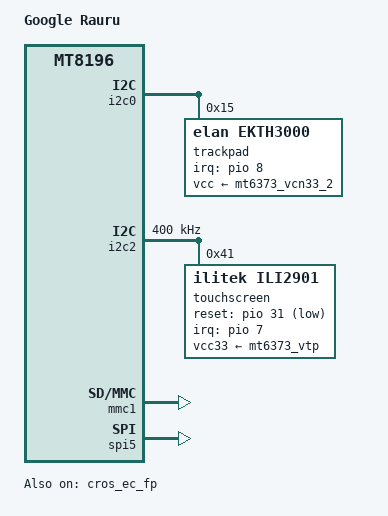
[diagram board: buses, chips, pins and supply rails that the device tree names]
// SPDX-License-Identifier: (GPL-2.0 OR MIT)
/*
 * Copyright (C) 2024 Google LLC
 * Copyright (C) 2025 Collabora Ltd
 *                    AngeloGioacchino Del Regno <angelogioacchino.delregno@collabora.com>
 */

/dts-v1/;
#include "mt8196-rauru.dtsi"

/ {
	model = "Google Rauru";
	compatible = "google,rauru", "mediatek,mt8196";
};

&cros_ec_fp {
	status = "okay";
};

&i2c0 {
	/* elan trackpad */
	trackpad@15 {
		compatible = "elan,ekth3000";
		reg = <0x15>;
		interrupts-extended = <&pio 8 IRQ_TYPE_LEVEL_LOW>;
		pinctrl-names = "default";
		pinctrl-0 = <&trackpad_pins>;
		vcc-supply = <&mt6373_vcn33_2>;
		wakeup-source;
	};
};

&i2c2 {
	clock-frequency = <400000>;
	pinctrl-names = "default";
	pinctrl-0 = <&i2c2_pins>;
	status = "okay";

	touchscreen: touchscreen@41 {
		compatible = "ilitek,ili2901";
		reg = <0x41>;
		interrupts-extended = <&pio 7 IRQ_TYPE_LEVEL_LOW>;
		pinctrl-names = "default";
		pinctrl-0 = <&touchscreen_pins>;
		reset-gpios = <&pio 31 GPIO_ACTIVE_LOW>;
		vcc33-supply = <&mt6373_vtp>;
	};
};

&keyboard_controller {
	function-row-physmap = <
		MATRIX_KEY(0x00, 0x02, 0)	/* T1 */
		MATRIX_KEY(0x03, 0x02, 0)	/* T2 */
		MATRIX_KEY(0x02, 0x02, 0)	/* T3 */
		MATRIX_KEY(0x01, 0x02, 0)	/* T4 */
		MATRIX_KEY(0x03, 0x04, 0)	/* T5 */
		MATRIX_KEY(0x02, 0x04, 0)	/* T6 */
		MATRIX_KEY(0x01, 0x04, 0)	/* T7 */
		MATRIX_KEY(0x02, 0x09, 0)	/* T8 */
		MATRIX_KEY(0x01, 0x09, 0)	/* T9 */
		MATRIX_KEY(0x00, 0x04, 0)	/* T10 */
	>;

	linux,keymap = <
		MATRIX_KEY(0x00, 0x02, KEY_BACK)
		MATRIX_KEY(0x03, 0x02, KEY_REFRESH)
		MATRIX_KEY(0x02, 0x02, KEY_ZOOM)
		MATRIX_KEY(0x01, 0x02, KEY_SCALE)
		MATRIX_KEY(0x03, 0x04, KEY_SYSRQ)
		MATRIX_KEY(0x02, 0x04, KEY_BRIGHTNESSDOWN)
		MATRIX_KEY(0x01, 0x04, KEY_BRIGHTNESSUP)
		MATRIX_KEY(0x02, 0x09, KEY_MUTE)
		MATRIX_KEY(0x01, 0x09, KEY_VOLUMEDOWN)
		MATRIX_KEY(0x00, 0x04, KEY_VOLUMEUP)
		CROS_STD_MAIN_KEYMAP
	>;
};

&mmc1 {
	status = "okay";
};

&spi5 {
	status = "okay";
};
